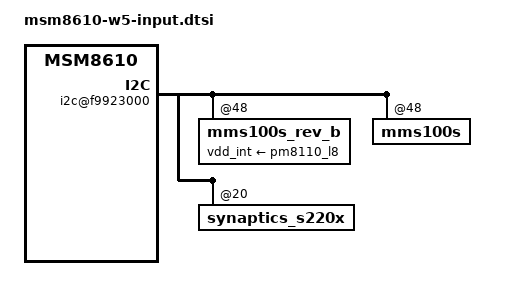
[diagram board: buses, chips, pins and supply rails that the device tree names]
/* Copyright (c) 2012, Code Aurora Forum. All rights reserved.
 *
 * This program is free software; you can redistribute it and/or modify
 * it under the terms of the GNU General Public License version 2 and
 * only version 2 as published by the Free Software Foundation.
 *
 * This program is distributed in the hope that it will be useful,
 * but WITHOUT ANY WARRANTY; without even the implied warranty of
 * MERCHANTABILITY or FITNESS FOR A PARTICULAR PURPOSE.  See the
 * GNU General Public License for more details.
 */

&soc {
	i2c@f9923000{
		mms100s_rev_b@48 {
			melfas,product = "I2S45B";
			melfas,max-x = <480>;
			melfas,max-y = <800>;
                        melfas,use_vdd_i2c = <1>;
			melfas,gpio-vdd-en = <62>;
			melfas,key-map = <158 139>;
			vdd_int-supply = <&pm8110_l8>;		
			melfas,fw-image-name = "melfas/w5_aio_us/w5_aio_us_rev_b_v101.mfsb";
			
			status = "ok";
			revision = "rev_b";
		};
		
		mms100s@48 {
			melfas,product = "I2S45B";
			melfas,max-x = <480>;
			melfas,max-y = <800>;
                        melfas,use_vdd_i2c = <1>;
			melfas,gpio-vdd-en = <82>;
			melfas,key-map = <158 139>;
			melfas,fw-image-name = "melfas/w5_aio_us/w5_aio_us_rev_b_v101.mfsb";	
			status = "ok";
			revision = "rev_a","rev_c";
		};

		
		synaptics_red@20 {
			status = "disable";
			revision = "rev_d...";
			synaptics,button-map = <158 139>;
			synaptics,gpio_vdd_en  = <82>;
		};
		
		synaptics_s220x@20 {
			status = "ok";
			revision = "rev_d...";
			synaptics,fw_version_info = <0x32 0x04 0x51>;
			lge,knock_on_type = <1>;
			synaptics,fw_image = "synaptics/w5_aio_us/PLG317-T009-PR1581873_DS4.3.5.1.16_32045109.img";
			synaptics,platform_data	{
				/*Caps*/
				panel_type = <5>;
				/* maker_id disable(0), enable(1) */
				maker_id = <1>;
				maker_id_gpio = <76>;
				number_of_button = <2>;
				button_name = [9e 8b];
				x_max = <960>;
				y_max = <1600>;
				lcd_x = <480>;
				lcd_y = <800>;
				gpio_vdd_en = <82>;
				use_vio_regulator = <1>;
				palm_detect_mode=<1>;
				ghost_detection_enable=<1>;
				ghost_detection_jitter_value=<10>;
			};
		};
	};
};
